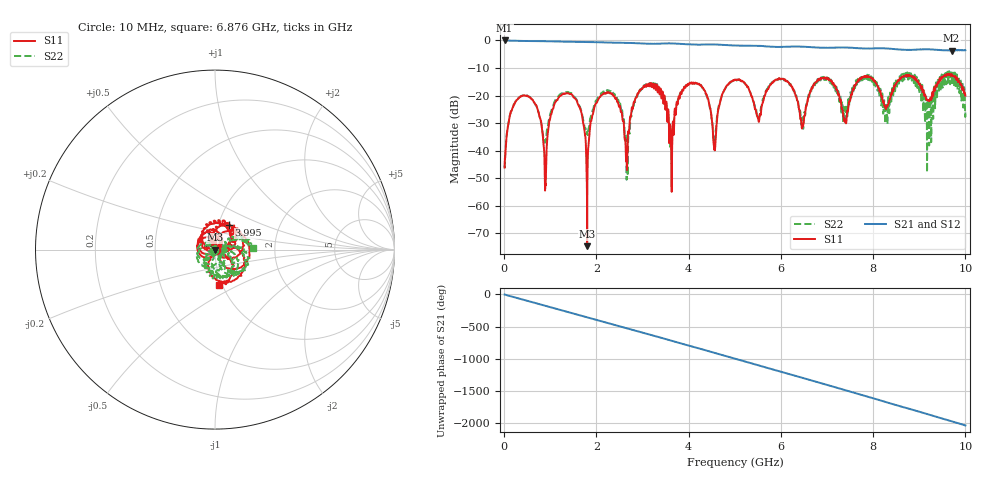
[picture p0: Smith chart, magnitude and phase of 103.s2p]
!Keysight Technologies,E5080B,MY59205177,A.15.75.32
!Date: Friday, February 23, 2024 03:35:59
!Correction: S11(Cdelta 2-Port  )
!S21(Cdelta 2-Port  )
!S12(Cdelta 2-Port  )
!S22(Cdelta 2-Port  )
!S2P File: Measurements: S11, S21, S12, S22:
# Hz S  dB  R 50
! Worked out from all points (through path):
!   10001 points, 10 MHz to 10 GHz, reference 50 ohm
!   highest |S21| = -0.01 dB at 10 MHz (marker M1); lowest = -3.7 dB at 9.701 GHz (marker M2)
!   group delay of S21, straight-line fit = 565 ps
!   lowest |S11| = -74.6 dB at 1.799 GHz (marker M3), VSWR 1.00, Z = 50 - j0.0169 ohm
!   |S11| at or under -10 dB: start of sweep to end of sweep
!   |S22| runs from -50.5 to -11.1 dB; largest |S21 - S12| = 0.0016
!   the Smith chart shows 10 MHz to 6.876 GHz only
!   S11 on the Smith chart (normalised r, x): 10 MHz: 1.01, -0.00; 3.995 GHz: 1.12, +0.32; 6.876 GHz: 0.96, -0.40
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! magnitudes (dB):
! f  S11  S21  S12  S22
! 10 MHz  -46.1  0.0  0.0  -45.9
! 372.6 MHz  -20.2  -0.2  -0.2  -20.1
! 888.1 MHz  -53.7  -0.3  -0.3  -36.8
! 1.178 GHz  -20.8  -0.4  -0.4  -20.2
! 1.675 GHz  -26.1  -0.5  -0.5  -25.6
! 1.799 GHz  -74.6  -0.5  -0.5  -33.2
! 2.108 GHz  -19.9  -0.7  -0.7  -19.0
! 2.662 GHz  -46.5  -0.9  -0.9  -43.7
! 2.892 GHz  -19.3  -1.0  -1.0  -20.0
! 3.341 GHz  -17.4  -1.2  -1.2  -17.7
! 3.627 GHz  -47.1  -1.1  -1.1  -42.0
! 3.995 GHz  -16.0  -1.4  -1.4  -15.9
! 4.561 GHz  -39.5  -1.5  -1.5  -38.5
! 5.005 GHz  -14.2  -1.8  -1.8  -14.5
! 6.464 GHz  -31.4  -2.3  -2.3  -27.8
! 6.67 GHz  -17.3  -2.5  -2.5  -17.0
! 6.876 GHz  -14.0  -2.6  -2.6  -13.4
! 7.385 GHz  -29.4  -2.6  -2.6  -26.0
! 7.796 GHz  -13.1  -2.9  -2.9  -12.9
! 8.336 GHz  -22.7  -3.0  -3.0  -20.9
! 9.701 GHz  -12.2  -3.7  -3.7  -13.8
! 10 GHz  -20.0  -3.6  -3.6  -25.4
